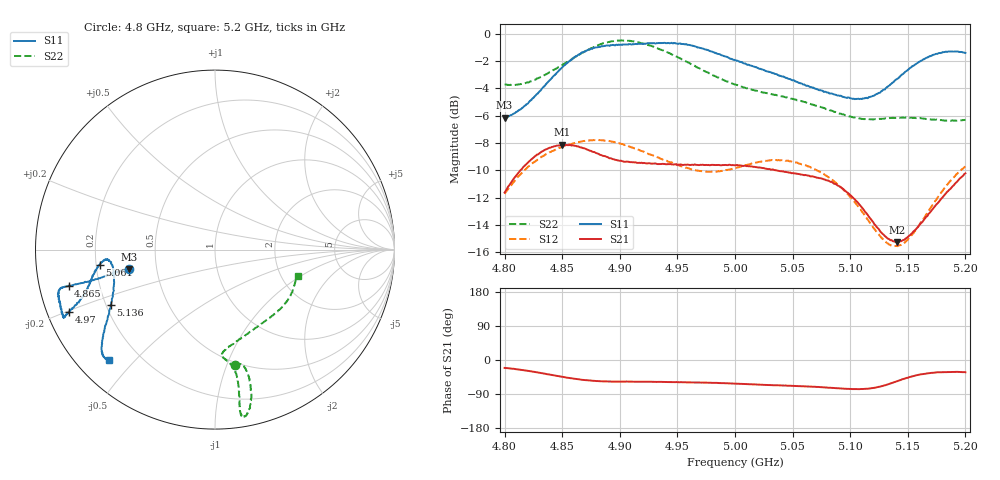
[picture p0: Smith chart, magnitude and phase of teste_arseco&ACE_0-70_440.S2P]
! Network Analyzer HP8722D
! Hewlett-Packard
! Data name: Linha & Wilkinson
! Saver's name: Rodrigo Anjos
! Comments: Teste da utilização de aquisição
! continua pelo VNA HP8722D
! Time and date: 8/5/2025 16:25
!  Frequency  S11  S21  S12  S22
# HZ  S  MA R 50
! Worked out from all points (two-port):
!   401 points, 4.8 GHz to 5.2 GHz, reference 50 ohm
!   highest |S21| = -8.12 dB at 4.85 GHz (marker M1); lowest = -15.2 dB at 5.141 GHz (marker M2)
!   |S21| within 3 dB of the highest: 4.804 GHz to 5.09 GHz (286 MHz wide, 5.78 % of centre); 5.189439 GHz to end of sweep
!   lowest |S11| = -6.2 dB at 4.8 GHz (marker M3), VSWR 2.94, Z = 17.2 - j4.89 ohm
!   |S11| at or under -10 dB: nowhere
!   |S22| runs from -6.4 to -0.5 dB; largest |S21 - S12| = 0.62
!   S11 on the Smith chart (normalised r, x): 4.8 GHz: 0.34, -0.10; 4.865 GHz: 0.09, -0.12; 4.97 GHz: 0.06, -0.20; 5.061 GHz: 0.21, -0.06; 5.136 GHz: 0.22, -0.24; 5.2 GHz: 0.10, -0.42
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4.8e9  0.4925 -167.4  0.2624 -20.9  0.2596 -142.0  0.6521 -80.3
4.821e9  0.561 -167.1  0.3404 -29.0  0.3277 -145.2  0.6637 -76.4
4.85e9  0.7529 -165.9  0.3926 -44.4  0.3861 -150.4  0.7683 -75.1
4.865e9  0.8401 -166.2  0.3848 -51.2  0.4019 -152.8  0.839 -76.0
4.867e9  0.8529 -166.1  0.3832 -52.2  0.4035 -153.2  0.8504 -76.2
4.898e9  0.9089 -163.3  0.3442 -57.0  0.3983 -157.2  0.9434 -79.7
4.913e9  0.9167 -160.1  0.3384 -57.1  0.3804 -157.6  0.9351 -80.9
4.934e9  0.9237 -156.7  0.3335 -57.9  0.3517 -156.0  0.8794 -81.1
4.97e9  0.8861 -156.8  0.3315 -59.6  0.3145 -147.4  0.7427 -80.2
5e9  0.8007 -159.6  0.3299 -62.4  0.3228 -137.8  0.6516 -81.8
5.036e9  0.7116 -166.4  0.3161 -66.8  0.3449 -135.4  0.5962 -86.1
5.061e9  0.6478 -172.5  0.3043 -69.5  0.3304 -137.5  0.5626 -84.1
5.067e9  0.635 -173.5  0.301 -70.2  0.3225 -138.0  0.5507 -82.7
5.084e9  0.6037 -174.8  0.287 -73.5  0.2929 -139.5  0.5224 -76.0
5.1e9  0.5806 -171.7  0.2571 -76.3  0.2532 -139.5  0.4988 -66.5
5.116e9  0.585 -164.2  0.2148 -75.5  0.2067 -135.1  0.487 -54.9
5.134e9  0.6464 -153.1  0.177 -63.1  0.1693 -118.6  0.4913 -42.9
5.136e9  0.6573 -152.1  0.1758 -61.0  0.1677 -116.1  0.492 -41.6
5.141e9  0.6855 -149.3  0.173 -55.5  0.1671 -109.3  0.4929 -38.7
5.154e9  0.7612 -144.0  0.1869 -43.1  0.1849 -93.7  0.4924 -32.2
5.17e9  0.8287 -139.5  0.2239 -34.2  0.2313 -82.2  0.4859 -25.3
5.2e9  0.8504 -133.9  0.3084 -32.3  0.3269 -77.7  0.4838 -17.7
